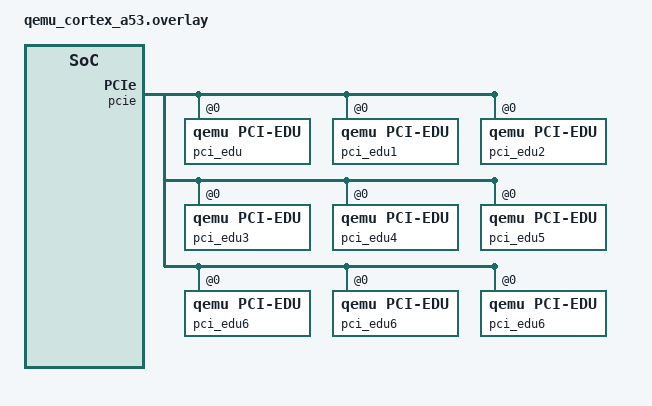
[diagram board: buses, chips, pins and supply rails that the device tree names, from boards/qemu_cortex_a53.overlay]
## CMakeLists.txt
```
# SPDX-License-Identifier: Apache-2.0

cmake_minimum_required(VERSION 3.13.1)
find_package(Zephyr REQUIRED HINTS $ENV{ZEPHYR_BASE})
project(edu)

FILE(GLOB app_sources src/*.c)
target_sources(app PRIVATE ${app_sources})
```

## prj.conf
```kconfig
CONFIG_ZTEST=y
CONFIG_PCIE=y
```

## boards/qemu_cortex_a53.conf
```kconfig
CONFIG_KERNEL_VM_SIZE=0x20000000
CONFIG_ARM64_VA_BITS_40=y
CONFIG_ARM64_PA_BITS_40=y
CONFIG_MAX_XLAT_TABLES=32

# Enable PCIe stuff
CONFIG_PCIE=y
CONFIG_PCIE_CONTROLLER=y
CONFIG_PCIE_MSI=y
CONFIG_PCIE_MSI_X=y
CONFIG_PCIE_MSI_MULTI_VECTOR=y

# Qemu PCIe drivers
CONFIG_PCIE_ECAM=y
CONFIG_GIC_V3_ITS=y
```

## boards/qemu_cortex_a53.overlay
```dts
/*
 * Copyright (c) 2021 BayLibre, SAS
 *
 * SPDX-License-Identifier: Apache-2.0
 *
 */

#include <dt-bindings/pcie/pcie.h>

/ {
	chosen {
		zephyr,pcie-controller = &pcie;
	};

	soc {
		pcie: pcie@4010000000 {
			compatible = "pci-host-ecam-generic";
			#address-cells = <3>;
			#size-cells = <2>;
			reg = <0x40 0x10000000 0x0 0x10000000>;
			ranges = <0x1000000 0 0 0 0x3eff0000 0 0x10000>,
				 <0x2000000 0 0x10000000 0 0x10000000 0 0x2eff0000>,
				 <0x3000000 0x80 0 0x80 0 0x80 0>;
			msi-parent = <&its>;
			label = "PCIE";

			pci_edu: test@1000 {
				compatible = "qemu,pci-edu";
				reg = <0x0 0x0 PCIE_BDF(0,0x02,0) 0x0 PCIE_ID(0x1234,0x11e8)>;
				label = "pci_edu";
				status = "okay";
			};

			pci_edu1: test@10000 {
				compatible = "qemu,pci-edu";
				reg = <0x0 0x0 PCIE_BDF(1,0,0) 0x0 PCIE_ID(0x1234,0x11e8)>;
				label = "pci_edu1";
				status = "okay";
			};

			pci_edu2: test@20000 {
				compatible = "qemu,pci-edu";
				reg = <0x0 0x0 PCIE_BDF(2,0,0) 0x0 PCIE_ID(0x1234,0x11e8)>;
				label = "pci_edu2";
				status = "okay";
			};

			pci_edu3: test@30000 {
				compatible = "qemu,pci-edu";
				reg = <0x0 0x0 PCIE_BDF(3,0,0) 0x0 PCIE_ID(0x1234,0x11e8)>;
				label = "pci_edu3";
				status = "okay";
			};

			pci_edu4: test@40000 {
				compatible = "qemu,pci-edu";
				reg = <0x0 0x0 PCIE_BDF(4,0,0) 0x0 PCIE_ID(0x1234,0x11e8)>;
				label = "pci_edu4";
				status = "okay";
			};

			pci_edu5: test@50000 {
				compatible = "qemu,pci-edu";
				reg = <0x0 0x0 PCIE_BDF(5,0,0) 0x0 PCIE_ID(0x1234,0x11e8)>;
				label = "pci_edu5";
				status = "okay";
			};

			pci_edu6: test@60000 {
				compatible = "qemu,pci-edu";
				reg = <0x0 0x0 PCIE_BDF(6,0,0) 0x0 PCIE_ID(0x1234,0x11e8)>;
				label = "pci_edu6";
				status = "okay";
			};

			pci_edu7: test@80000 {
				compatible = "qemu,pci-edu";
				reg = <0x0 0x0 PCIE_BDF(8,0,0) 0x0 PCIE_ID(0x1234,0x11e8)>;
				label = "pci_edu6";
				status = "okay";
			};

			pci_edu8: test@90000 {
				compatible = "qemu,pci-edu";
				reg = <0x0 0x0 PCIE_BDF(9,0,0) 0x0 PCIE_ID(0x1234,0x11e8)>;
				label = "pci_edu6";
				status = "okay";
			};
		};
	};
};
```

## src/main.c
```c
/*
 * Copyright (c) 2021 BayLibre SAS
 *
 * SPDX-License-Identifier: Apache-2.0
 */

#include <zephyr/logging/log.h>
LOG_MODULE_REGISTER(pci_edu_test, LOG_LEVEL_INF);

#include <zephyr/types.h>
#include <stdbool.h>
#include <stddef.h>
#include <string.h>
#include <errno.h>
#include <zephyr/sys/printk.h>

#include <zephyr/ztest.h>

#include <zephyr/kernel.h>
#include <zephyr/device.h>
#include <zephyr/drivers/pcie/pcie.h>
#ifdef CONFIG_PCIE_MSI
#include <zephyr/drivers/pcie/msi.h>
#endif

#define DT_DRV_COMPAT qemu_pci_edu

struct pcie_edu_config {
	pcie_bdf_t pcie_bdf;
	pcie_id_t pcie_id;
};

struct pcie_edu_data {
	struct pcie_mbar mem_bar;
	mm_reg_t mem_addr;
#ifdef CONFIG_PCIE_MSI
	struct msi_vector msi;
#endif
};

typedef int (*pcie_edu_get_id_t)(const struct device *dev, uint32_t *id);
typedef int (*pcie_edu_check_liveness_t)(const struct device *dev);
#ifdef CONFIG_PCIE_MSI
typedef int (*pcie_edu_test_msi_t)(const struct device *dev);
typedef uint32_t (*pcie_edu_calc_fact_t)(const struct device *dev, uint32_t val);
#endif

__subsystem struct pcie_edu_driver_api {
	pcie_edu_get_id_t get_id;
	pcie_edu_check_liveness_t check_liveness;
#ifdef CONFIG_PCIE_MSI
	pcie_edu_test_msi_t test_msi;
	pcie_edu_calc_fact_t calc_fact;
#endif
};

static int pcie_edu_get_id(const struct device *dev, uint32_t *id)
{
	struct pcie_edu_data *ctx = (struct pcie_edu_data *)dev->data;

	*id = sys_read32((mem_addr_t)ctx->mem_addr);

	return 0;
}

static int pcie_edu_check_liveness(const struct device *dev)
{
	struct pcie_edu_data *ctx = (struct pcie_edu_data *)dev->data;
	uint32_t val = 0xaa55aa55;

	sys_write32(val, (mem_addr_t)((uint8_t *)ctx->mem_addr + 0x04));
	if (sys_read32((mem_addr_t)((uint8_t *)ctx->mem_addr + 0x04)) != ~val)
		return -EIO;

	return 0;
}

#ifdef CONFIG_PCIE_MSI
static volatile uint32_t irq_status;

static void pcie_edu_irq(const void *parameter)
{
	const struct device *dev = parameter;
	struct pcie_edu_data *ctx = (struct pcie_edu_data *)dev->data;

	irq_status = sys_read32((mem_addr_t)((uint8_t *)ctx->mem_addr + 0x24));

	sys_write32(irq_status, (mem_addr_t)((uint8_t *)ctx->mem_addr + 0x64));
}

static int pcie_edu_test_msi(const struct device *dev)
{
	struct pcie_edu_data *ctx = (struct pcie_edu_data *)dev->data;

	irq_status = 0;

	sys_write32(0x10, (mem_addr_t)((uint8_t *)ctx->mem_addr + 0x60));

	k_usleep(1);

	if (irq_status != 0x10)
		return -EIO;

	return 0;
}

static uint32_t pcie_edu_calc_fact(const struct device *dev, uint32_t fact)
{
	struct pcie_edu_data *ctx = (struct pcie_edu_data *)dev->data;

	irq_status = 0;

	/* Enable IRQ for Factorial calculation */
	sys_write32(0x80, (mem_addr_t)((uint8_t *)ctx->mem_addr + 0x20));
	sys_write32(fact, (mem_addr_t)((uint8_t *)ctx->mem_addr + 0x08));

	while (!irq_status) {
		k_usleep(1);
	}

	return sys_read32((mem_addr_t)((uint8_t *)ctx->mem_addr + 0x08));
}
#endif

static int pcie_edu_init(const struct device *dev)
{
	const struct pcie_edu_config *cfg = (const struct pcie_edu_config *)dev->config;
	struct pcie_edu_data *ctx = (struct pcie_edu_data *)dev->data;
#ifdef CONFIG_PCIE_MSI
	int ret;
#endif

	if (!pcie_probe(cfg->pcie_bdf, cfg->pcie_id)) {
		LOG_INF("edu probe [%02x:%02x.%x] fail", PCIE_BDF_TO_BUS(cfg->pcie_bdf),
		PCIE_BDF_TO_DEV(cfg->pcie_bdf), PCIE_BDF_TO_FUNC(cfg->pcie_bdf));
		return -EINVAL;
	}

	LOG_INF("edu probe [%02x:%02x.%x]", PCIE_BDF_TO_BUS(cfg->pcie_bdf),
		PCIE_BDF_TO_DEV(cfg->pcie_bdf), PCIE_BDF_TO_FUNC(cfg->pcie_bdf));

	pcie_get_mbar(cfg->pcie_bdf, 0, &ctx->mem_bar);

	pcie_set_cmd(cfg->pcie_bdf, PCIE_CONF_CMDSTAT_MEM, true);

#ifdef CONFIG_PCIE_MSI
	ret = pcie_msi_vectors_allocate(cfg->pcie_bdf, 0, &ctx->msi, 1);
	if (ret != 1) {
		return -EIO;
	}

	ret = pcie_msi_vector_connect(cfg->pcie_bdf, &ctx->msi, pcie_edu_irq, dev, 0);
	if (!ret) {
		return -EIO;
	}

	ret = pcie_msi_enable(cfg->pcie_bdf, &ctx->msi, 1, 0);
	if (!ret) {
		return -EIO;
	}
#endif

	device_map(&ctx->mem_addr, ctx->mem_bar.phys_addr, ctx->mem_bar.size, K_MEM_CACHE_NONE);

	LOG_INF("MEM %lx -> %p", ctx->mem_bar.phys_addr, (void *)ctx->mem_addr);

	return 0;
}

static struct pcie_edu_driver_api pcie_edu_api = {
	.get_id = pcie_edu_get_id,
	.check_liveness = pcie_edu_check_liveness,
#ifdef CONFIG_PCIE_MSI
	.test_msi = pcie_edu_test_msi,
	.calc_fact = pcie_edu_calc_fact,
#endif
};

#define PCIE_TESTED_DEVICE_INIT(n)							\
	static struct pcie_edu_data edu_dev_data_##n;					\
	static const struct pcie_edu_config edu_dev_cfg_##n = {				\
		.pcie_bdf = DT_INST_REG_ADDR(n),					\
		.pcie_id = DT_INST_REG_SIZE(n),						\
	};										\
	DEVICE_DT_INST_DEFINE(n, &pcie_edu_init, NULL,					\
			      &edu_dev_data_##n, &edu_dev_cfg_##n,			\
			      POST_KERNEL, CONFIG_KERNEL_INIT_PRIORITY_DEVICE,		\
			      &pcie_edu_api);

DT_INST_FOREACH_STATUS_OKAY(PCIE_TESTED_DEVICE_INIT)

#define PCIE_EDU_DEV(n) DEVICE_DT_GET(DT_DRV_INST(n)),

static const struct device *dev[] = {
	DT_INST_FOREACH_STATUS_OKAY(PCIE_EDU_DEV)
	NULL
};

static void test_dev_probe(void)
{
	struct pcie_edu_driver_api *api;
	const struct pcie_edu_config *cfg;
	int i;

	for (i = 0 ; dev[i] ; ++i) {
		LOG_INF("edu device %d", i);

		zassert_not_null(dev[i], "");

		cfg = (const struct pcie_edu_config *)dev[i]->config;
		LOG_INF("edu device %d bdf [%02x:%02x.%x]", i,
			PCIE_BDF_TO_BUS(cfg->pcie_bdf), PCIE_BDF_TO_DEV(cfg->pcie_bdf),
			PCIE_BDF_TO_FUNC(cfg->pcie_bdf));

		zassert_equal(dev[i]->state->initialized, true, "");
		zassert_equal(dev[i]->state->init_res, 0, "");

		api = (struct pcie_edu_driver_api *)dev[i]->api;
		zassert_not_null(api, "");
	}
}

static void test_run_get_id(void)
{
	struct pcie_edu_driver_api *api;
	int ret;
	uint32_t id;
	int i;

	for (i = 0 ; dev[i] ; ++i) {
		LOG_INF("edu device %d", i);

		api = (struct pcie_edu_driver_api *)dev[i]->api;

		ret = api->get_id(dev[i], &id);
		zassert_equal(ret, 0, "");

		LOG_INF("id %08x", id);
	}
}

static void test_run_check_liveness(void)
{
	struct pcie_edu_driver_api *api;
	int ret;
	int i;

	for (i = 0 ; dev[i] ; ++i) {
		LOG_INF("edu device %d", i);

		api = (struct pcie_edu_driver_api *)dev[i]->api;

		ret = api->check_liveness(dev[i]);
		zassert_equal(ret, 0, "");
	}
}

#ifdef CONFIG_PCIE_MSI
static void test_run_test_msi(void)
{
	struct pcie_edu_driver_api *api;
	int ret;
	int i;

	for (i = 0 ; dev[i] ; ++i) {
		LOG_INF("edu device %d", i);

		api = (struct pcie_edu_driver_api *)dev[i]->api;

		ret = api->test_msi(dev[i]);
		zassert_equal(ret, 0, "");
	}
}

static void test_run_calc_fact(void)
{
	struct pcie_edu_driver_api *api;
	uint32_t ret;
	int i;

	for (i = 0 ; dev[i] ; ++i) {
		LOG_INF("edu device %d", i);

		api = (struct pcie_edu_driver_api *)dev[i]->api;

		ret = api->calc_fact(dev[i], 0);
		zassert_equal(ret, 1, "");
		LOG_INF("fact(%d)=%d", 1, ret);

		ret = api->calc_fact(dev[i], 5);
		zassert_equal(ret, 120, "");
		LOG_INF("fact(%d)=%d", 5, ret);

		ret = api->calc_fact(dev[i], 10);
		zassert_equal(ret, 3628800, "");
		LOG_INF("fact(%d)=%d", 10, ret);
	}
}
#else
static void test_run_test_msi(void)
{
	LOG_INF("Skipping, MSI disabled");
}

static void test_run_calc_fact(void)
{
	LOG_INF("Skipping, MSI disabled");
}
#endif

void test_main(void)
{
	ztest_test_suite(pci_edu_test,
			 ztest_unit_test(test_dev_probe),
			 ztest_unit_test(test_run_get_id),
			 ztest_unit_test(test_run_check_liveness),
			 ztest_unit_test(test_run_test_msi),
			 ztest_unit_test(test_run_calc_fact),
			 );

	ztest_run_test_suite(pci_edu_test);
}
```
